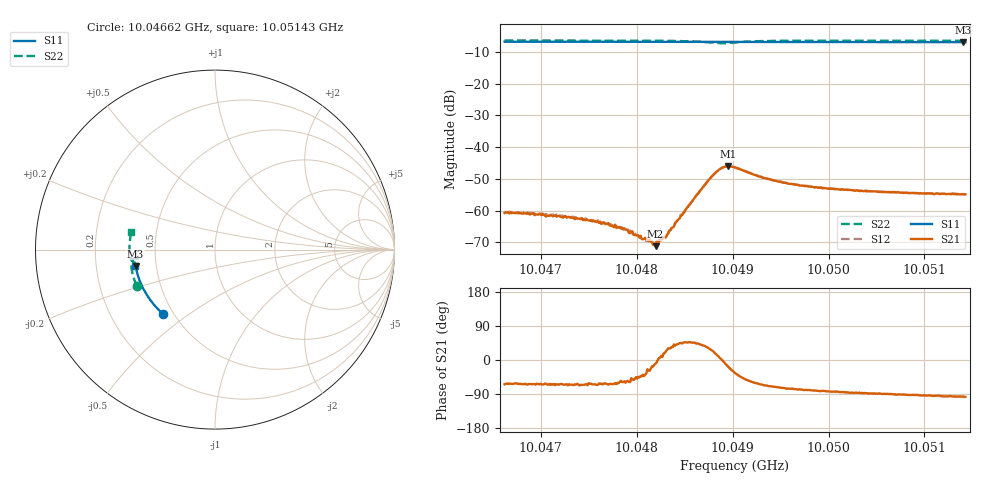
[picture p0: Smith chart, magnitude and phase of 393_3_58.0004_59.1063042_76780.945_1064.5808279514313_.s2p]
#  HZ  S  RI  R  50.00
! Rohde & Schwarz Vector Network Analyzer
! Rohde-Schwarz,ZNB20-2Port,1311601062101988,3.16
! Created: UTC 3/21/2024, 1:07:56 AM
! freq[Hz]  re:S11  im:S11  re:S21  im:S21  re:S12  im:S12  re:S22  im:S22
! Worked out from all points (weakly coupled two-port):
!   401 points, 10.04662 GHz to 10.05143 GHz, reference 50 ohm
!   highest |S21| = -46.07 dB at 10.04895 GHz (marker M1); lowest = -71.2 dB at 10.0482 GHz (marker M2)
!   lowest |S11| = -6.9 dB at 10.0514 GHz (marker M3), VSWR 2.65, Z = 19 - j4.37 ohm
!   |S11| at or under -10 dB: nowhere
!   |S22| runs from -7.3 to -6.4 dB; largest |S21 - S12| = 0.00035
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1.0046623e10  -0.2893 -0.3583  0.000401 -0.000826  0.00052 -0.00081  -0.4359 -0.2024
1.0047008e10  -0.3079 -0.3411  0.00037 -0.000766  0.000461 -0.000729  -0.4456 -0.1782
1.0047428e10  -0.3274 -0.3213  0.000311 -0.000695  0.00039 -0.000656  -0.4546 -0.1508
1.004768e10  -0.3384 -0.3088  0.000288 -0.000557  0.000319 -0.00053  -0.4592 -0.1338
1.004774e10  -0.3409 -0.3057  0.000258 -0.000514  0.000305 -0.000512  -0.4602 -0.1297
1.00478e10  -0.3434 -0.3028  0.000272 -0.000479  0.000293 -0.00047  -0.461 -0.1253
1.0047956e10  -0.35 -0.2947  0.000297 -0.000365  0.00028 -0.000322  -0.4632 -0.1142
1.0048125e10  -0.3568 -0.286  0.000291 -0.000154  0.000298 -0.000143  -0.465 -0.1015
1.0048173e10  -0.3586 -0.2835  0.000275 -8.5e-05  0.0003 -8.64e-05  -0.4654 -0.098
1.0048197e10  -0.3598 -0.2822  0.000271 -4.7e-05  0.000283 -5.31e-05  -0.4656 -0.0959
1.0048233e10  -0.361 -0.2803  0.000322 2.69e-05  0.000338 4.75e-05  -0.4658 -0.0932
1.0048305e10  -0.3639 -0.2765  0.000348 0.000145  0.000368 0.000169  -0.4658 -0.0872
1.0048653e10  -0.3765 -0.2574  0.00146 0.00132  0.00139 0.00142  -0.4568 -0.0548
1.0048785e10  -0.3811 -0.2499  0.00317 0.00147  0.00307 0.00165  -0.4415 -0.0473
1.0048869e10  -0.3836 -0.2454  0.0045 0.000388  0.0045 0.000691  -0.4304 -0.054
1.0048953e10  -0.3866 -0.2407  0.00474 -0.00149  0.00487 -0.00122  -0.4312 -0.0673
1.0049025e10  -0.3889 -0.2368  0.00396 -0.0027  0.00415 -0.00245  -0.4408 -0.0731
1.0049434e10  -0.4018 -0.2133  0.000985 -0.00283  0.00118 -0.00276  -0.4712 -0.0435
1.004983e10  -0.4128 -0.1897  0.000407 -0.00235  0.000542 -0.00234  -0.4761 -0.012
1.0050634e10  -0.4309 -0.14  1.52e-05 -0.00195  0.00011 -0.00194  -0.4745 0.0444
1.0051403e10  -0.4426 -0.0913  -0.000195 -0.0018  -0.000116 -0.00183  -0.4666 0.0954
1.0051427e10  -0.443 -0.0897  -0.000227 -0.00179  -0.000126 -0.00181  -0.4662 0.0969
